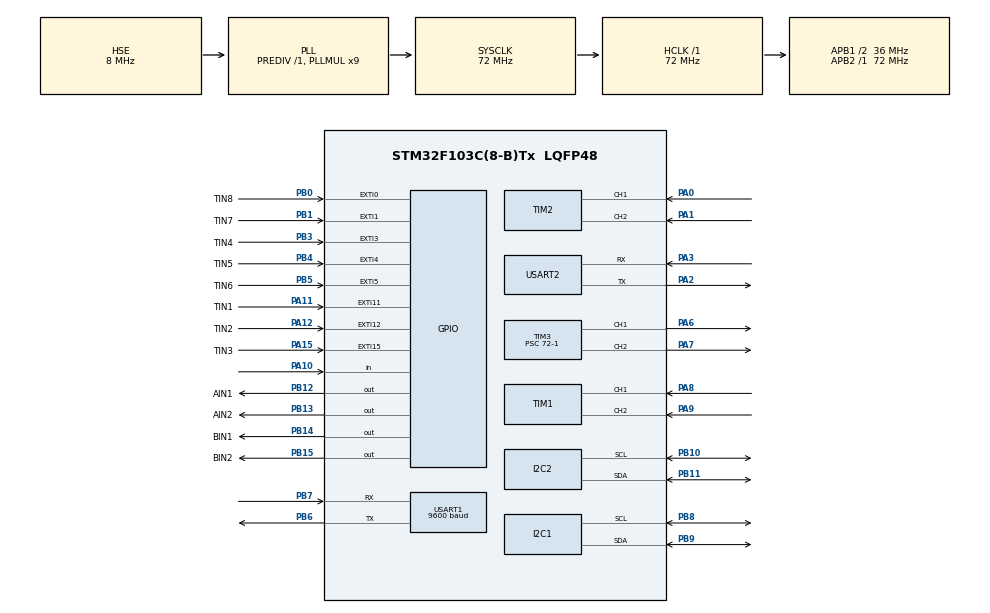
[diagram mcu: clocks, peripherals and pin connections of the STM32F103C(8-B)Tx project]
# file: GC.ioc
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I2C1.I2C_Mode=I2C_Fast
I2C2.I2C_Mode=I2C_Fast
Mcu.Family=STM32F1
Mcu.Name=STM32F103C(8-B)Tx
Mcu.Package=LQFP48
NVIC.I2C1_ER_IRQn=true\:0\:0\:false\:false\:true\:true\:true\:true
NVIC.I2C1_EV_IRQn=true\:0\:0\:false\:false\:true\:true\:true\:true
NVIC.I2C2_ER_IRQn=true\:0\:0\:false\:false\:true\:true\:true\:true
NVIC.I2C2_EV_IRQn=true\:0\:0\:false\:false\:true\:true\:true\:true
NVIC.PriorityGroup=NVIC_PRIORITYGROUP_4
NVIC.TIM4_IRQn=true\:0\:0\:false\:false\:true\:true\:true\:true
NVIC.USART1_IRQn=true\:0\:0\:false\:false\:true\:true\:true\:true
NVIC.USART2_IRQn=true\:0\:0\:false\:false\:true\:true\:true\:true
PA0-WKUP.Signal=S_TIM2_CH1_ETR
PA1.GPIO_PuPd=GPIO_PULLUP
PA1.Signal=S_TIM2_CH2
PA10.Signal=GPIO_Input
PA11.GPIO_Label=TIN1
PA11.GPIO_ModeDefaultEXTI=GPIO_MODE_IT_RISING
PA11.GPIO_PuPd=GPIO_PULLDOWN
PA11.Signal=GPXTI11
PA12.GPIO_Label=TIN2
PA12.GPIO_ModeDefaultEXTI=GPIO_MODE_IT_RISING
PA12.GPIO_PuPd=GPIO_PULLDOWN
PA12.Signal=GPXTI12
PA13.Mode=Serial_Wire
PA13.Signal=SYS_JTMS-SWDIO
PA14.Mode=Serial_Wire
PA14.Signal=SYS_JTCK-SWCLK
PA15.GPIO_Label=TIN3
PA15.GPIO_ModeDefaultEXTI=GPIO_MODE_IT_RISING
PA15.GPIO_PuPd=GPIO_PULLDOWN
PA15.Signal=GPXTI15
PA2.Mode=Asynchronous
PA2.Signal=USART2_TX
PA3.Mode=Asynchronous
PA3.Signal=USART2_RX
PA6.Signal=S_TIM3_CH1
PA7.Signal=S_TIM3_CH2
PA8.GPIO_PuPd=GPIO_PULLUP
PA8.Signal=S_TIM1_CH1
PA9.GPIO_PuPd=GPIO_PULLUP
PA9.Signal=S_TIM1_CH2
PB0.GPIO_Label=TIN8
PB0.GPIO_ModeDefaultEXTI=GPIO_MODE_IT_RISING
PB0.GPIO_PuPd=GPIO_PULLDOWN
PB0.Signal=GPXTI0
PB1.GPIO_Label=TIN7
PB1.GPIO_ModeDefaultEXTI=GPIO_MODE_IT_RISING
PB1.GPIO_PuPd=GPIO_PULLDOWN
PB1.Signal=GPXTI1
PB10.Mode=I2C
PB10.Signal=I2C2_SCL
PB11.Mode=I2C
PB11.Signal=I2C2_SDA
PB12.GPIO_Label=AIN1
PB12.GPIO_PuPd=GPIO_PULLDOWN
PB12.Signal=GPIO_Output
PB13.GPIO_Label=AIN2
PB13.GPIO_PuPd=GPIO_PULLDOWN
PB13.Signal=GPIO_Output
PB14.GPIO_Label=BIN1
PB14.GPIO_PuPd=GPIO_PULLDOWN
PB14.Signal=GPIO_Output
PB15.GPIO_Label=BIN2
PB15.GPIO_PuPd=GPIO_PULLDOWN
PB15.Signal=GPIO_Output
PB3.GPIO_Label=TIN4
PB3.GPIO_ModeDefaultEXTI=GPIO_MODE_IT_RISING
PB3.GPIO_PuPd=GPIO_PULLDOWN
PB3.Signal=GPXTI3
PB4.GPIO_Label=TIN5
PB4.GPIO_ModeDefaultEXTI=GPIO_MODE_IT_RISING
PB4.GPIO_PuPd=GPIO_PULLDOWN
PB4.Signal=GPXTI4
PB5.GPIO_Label=TIN6
PB5.GPIO_ModeDefaultEXTI=GPIO_MODE_IT_RISING
PB5.GPIO_PuPd=GPIO_PULLDOWN
PB5.Signal=GPXTI5
PB6.Mode=Asynchronous
PB6.Signal=USART1_TX
PB7.Mode=Asynchronous
PB7.Signal=USART1_RX
PB8.Mode=I2C
PB8.Signal=I2C1_SCL
PB9.Mode=I2C
PB9.Signal=I2C1_SDA
PD0-OSC_IN.Mode=HSE-External-Oscillator
PD0-OSC_IN.Signal=RCC_OSC_IN
PD1-OSC_OUT.Mode=HSE-External-Oscillator
PD1-OSC_OUT.Signal=RCC_OSC_OUT
ProjectManager.HeapSize=0x200
ProjectManager.StackSize=0x400
ProjectManager.TargetToolchain=MDK-ARM V5.32
RCC.AHBFreq_Value=72000000
RCC.APB1CLKDivider=RCC_HCLK_DIV2
RCC.APB1Freq_Value=36000000
RCC.APB1TimFreq_Value=72000000
RCC.APB2Freq_Value=72000000
RCC.APB2TimFreq_Value=72000000
RCC.HCLKFreq_Value=72000000
RCC.PLLMUL=RCC_PLL_MUL9
RCC.PLLSourceVirtual=RCC_PLLSOURCE_HSE
RCC.SYSCLKFreq_VALUE=72000000
RCC.SYSCLKSource=RCC_SYSCLKSOURCE_PLLCLK
RCC.USBFreq_Value=72000000
SH.S_TIM1_CH1.0=TIM1_CH1,Encoder_Interface
SH.S_TIM1_CH2.0=TIM1_CH2,Encoder_Interface
SH.S_TIM2_CH1_ETR.0=TIM2_CH1,Encoder_Interface
SH.S_TIM2_CH2.0=TIM2_CH2,Encoder_Interface
SH.S_TIM3_CH1.0=TIM3_CH1,PWM Generation1 CH1
SH.S_TIM3_CH2.0=TIM3_CH2,PWM Generation2 CH2
TIM1.EncoderMode=TIM_ENCODERMODE_TI12
TIM2.EncoderMode=TIM_ENCODERMODE_TI12
TIM3.Channel-PWM\ Generation1\ CH1=TIM_CHANNEL_1
TIM3.Channel-PWM\ Generation2\ CH2=TIM_CHANNEL_2
TIM3.Period=1000-1
TIM3.Prescaler=72-1
USART1.BaudRate=9600
USART1.VirtualMode=VM_ASYNC
USART2.VirtualMode=VM_ASYNC
VP_TIM4_VS_ClockSourceINT.Mode=Internal
board=custom

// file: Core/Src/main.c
/* USER CODE BEGIN Header */
/**
  ******************************************************************************
  * @file           : main.c
  * @brief          : Main program body
  ******************************************************************************
  * @attention
  *
  * Copyright (c) 2025 STMicroelectronics.
  * All rights reserved.
  *
  * This software is licensed under terms that can be found in the LICENSE file
  * in the root directory of this software component.
  * If no LICENSE file comes with this software, it is provided AS-IS.
  *
  ******************************************************************************
  */
/* USER CODE END Header */
#include "main.h"
#include "i2c.h"
#include "tim.h"
#include "usart.h"
#include "gpio.h"

/* USER CODE BEGIN Includes */
#include "VL53L0X.h"
#include "gc_pid.h"
#include "stdio.h"
#include "VL6180X.h"

/* USER CODE END Includes */

/* USER CODE BEGIN PTD */
typedef struct{
  uint16_t ecd; uint16_t last_ecd;
  float speed_real; float speed_tar;
  GPIO_TypeDef *IN1_port; uint16_t IN1_pin; //两个IN用来控制正反转
  GPIO_TypeDef *IN2_port; uint16_t IN2_pin;
  int32_t pwm_output;
  TIM_HandleTypeDef *PWM_htim; uint32_t PWM_Channel;
  TIM_HandleTypeDef *ecd_htim;
}motor_t;

typedef struct{
  int8_t mode;

  float speed_Kp;
  float speed_Ki;
  float speed_Kd;
  float speed_iMax;
  float speed_iMin;

  float angle_A_Kp;
  float angle_A_Ki;
  float angle_A_Kd;
  float angle_A_iMax;
  float angle_A_iMin;

  float angle_S_Kp;
  float angle_S_Ki;
  float angle_S_Kd;
  float angle_S_iMax;
  float angle_S_iMin;

  float track_Kp;
  float track_Ki;
  float track_Kd;

}PID_t;

typedef struct{
  float pitch;
  float roll;
  float yaw;

}IMU_t;

//PID模型结构�?
// extern P rtP; //输入
// extern ExtU rtU;  //参数
// extern ExtY rtY;  //输出

/* USER CODE END PTD */

/* USER CODE BEGIN PD */
#define MOTOR_CPR 40000
/* USER CODE END PD */

/* USER CODE BEGIN PV */
extern I2C_HandleTypeDef hi2c1;
extern I2C_HandleTypeDef hi2c2;
extern I2C_HandleTypeDef VL53L0X_I2C_Handler;
statInfo_t_VL53L0X statInfo;
statInfo_t_VL53L0X statInfo2;

vl6180x_t tof1;
vl6180x_t tof2;

char vlBuffer[64];

uint8_t uart1_tx_resetZaxis[3] = {0xFF,0xAA,0x52};
uint8_t uart1_tx_setWidth[3] = {0xFF,0xAA,0x81};
uint8_t uart1_index = 0;
uint8_t uart1_rx_buffer[64];
uint8_t imu_buffer[16];
uint8_t uart2_rx_buffer[8];

uint16_t tof_dis1 = 8192;
uint16_t tof_dis2 = 8192;
uint16_t tof_dis1_l = 8192;
uint16_t tof_dis2_l = 8192;
uint16_t tof_dis1_ll = 8192;
uint16_t tof_dis2_ll = 8192;

int my_carstate=0;

float ang_tar = 0.0f;
float ang_real = 0.0f;
float ang_ori = 0.0f;

IMU_t imu_data = {0.0f,0.0f,0.0f};

PID_t pid_param = {
  1,   //mode
  //0.017,0.005,0.0001,500,-500,  //speed 只在mode=1时生效
	0.02,0.04,0.001,500,-500,
  8.8,0.15,0.005,1000,-1000,  //angle_A 只在mode=2时生效
  0.08,0.02,0.001,1000,-1000,  //angle_S 只在mode=2时生效
  0.12,0.1,0.0001   //巡线用pid，一直生效
};
//0.037
//9.5
//0.12

motor_t motor_left = {
  0,0,
  0,0,
  AIN1_GPIO_Port, AIN1_Pin, //左A右B
  AIN2_GPIO_Port, AIN2_Pin,
  0,
  &htim3,TIM_CHANNEL_1,
  &htim1
};

motor_t motor_right = {
  0,0,
  0,0,
  BIN2_GPIO_Port, BIN2_Pin,
  BIN1_GPIO_Port, BIN1_Pin,
  0,
  &htim3,TIM_CHANNEL_2,
  &htim2
};

float track_state[8];
float line_track = 0;

int tim4_cnt = 0;

int8_t CAR_STATE = 1;

uint16_t case1_cnt = 0;
uint16_t case2_cnt = 0;
uint16_t case3_cnt = 0;
uint16_t case4_cnt = 0;
uint16_t case5_cnt = 0;
uint16_t case6_cnt = 0;
uint16_t case7_cnt = 0;

uint16_t tof_cnt = 0;

//for debug, our var is declined. so we set a var to increase the speed to be happy.
uint16_t rate = 4;

float tmp_tar = 0.0f;
int uart_cnt = 0;

int16_t stop_cnt = 0;
uint16_t stop_code = 0;
uint16_t high_speed_cnt = 0;
uint16_t cnt_max = 0;
uint16_t high_speed_code = 0;

uint16_t test_cnt = 0;

uint16_t imu_cnt = 0;
/* USER CODE END PV */

void SystemClock_Config(void);
/* USER CODE BEGIN PFP */
void motor_updEcd(motor_t *motor){
  motor->last_ecd = motor->ecd;
  motor->ecd = __HAL_TIM_GET_COUNTER(motor->ecd_htim);
  int32_t delta = motor->ecd - motor->last_ecd;
  if(delta > (int32_t)(MOTOR_CPR*0.7)){
    delta -= 65535;
  }else if(delta < (int32_t)(-MOTOR_CPR*0.7 )){
    delta += 65535;
  }
  motor->speed_real = (float)delta * 360 / MOTOR_CPR * 100;
}

void PID_updParam(PID_t *pid){

  rtP.angle_A_Kp = pid->angle_A_Kp;
  rtP.angle_A_Ki = pid->angle_A_Ki;
  rtP.angle_A_Kd = pid->angle_A_Kd;
  rtP.angle_A_iMax = pid->angle_A_iMax;
  rtP.angle_A_iMin = pid->angle_A_iMin;

  rtP.angle_S_Kp = pid->angle_S_Kp;
  rtP.angle_S_Ki = pid->angle_S_Ki;
  rtP.angle_S_Kd = pid->angle_S_Kd;
  rtP.angle_S_iMax = pid->angle_S_iMax;
  rtP.angle_S_iMin = pid->angle_S_iMin;

  rtP.speed_Kp = pid->speed_Kp;
  rtP.speed_Ki = pid->speed_Ki;
  rtP.speed_Kd = pid->speed_Kd;
  rtP.speed_iMax = pid->speed_iMax;
  rtP.speed_iMin = pid->speed_iMin;

  rtP.track_Kp = pid->track_Kp;
  rtP.track_Ki = pid->track_Ki;
  rtP.track_Kd = pid->track_Kd;
}

void PID_updInput(){
  rtU.ctrl_mode = pid_param.mode;
  rtU.angle_tar = ang_tar;
	if (CAR_STATE == 8 || CAR_STATE == 9)	rtU.angle_real = imu_data.yaw;
	else rtU.angle_real = 0;
  rtU.leftRpm_real = motor_left.speed_real;
  rtU.rightRpm_real = motor_right.speed_real;
  rtU.leftRpm_tar = motor_left.speed_tar;
  rtU.rightRpm_tar = motor_right.speed_tar;
  rtU.track_in = line_track;
  rtU.track_tar = 0.0f;
}

bool CRC_check(uint8_t *buffer){
  uint8_t sum = 0;
  for(int i=0; i<=9; i++){
      sum += buffer[i];
  }
  return sum == buffer[10];
}

void IMU_getAng(uint8_t* buffer){
	if(buffer[1] == 0x53){
		uint16_t roll = (buffer[3] << 8) | buffer[2];
		uint16_t pitch = (buffer[5] << 8) | buffer[4];
		uint16_t yaw = (buffer[7] << 8) | buffer[6];
		imu_data.roll = (float)roll / 32768.0f * 180.0f;
		imu_data.pitch = (float)pitch / 32768.0f * 180.0f;
		imu_data.yaw = (float)yaw / 32768.0f * 180.0f;
  }
}

void tof_init(){
  initVL53L0X(1, &hi2c1);
  setSignalRateLimit(250);
  setVcselPulsePeriod(VcselPeriodPreRange, 18);
	setVcselPulsePeriod(VcselPeriodFinalRange, 18);
	setMeasurementTimingBudget(190 * 1000UL);
  startContinuous(0);
  HAL_Delay(20);
  initVL53L0X(1,&hi2c2);
  setSignalRateLimit(250);
  setVcselPulsePeriod(VcselPeriodPreRange, 18);
  setVcselPulsePeriod(VcselPeriodFinalRange, 18);
  setMeasurementTimingBudget(190 * 1000UL);
  startContinuous(0);
}

void tof_getDis(){
  VL53L0X_I2C_Handler = hi2c1;
  tof_dis1_ll = tof_dis1_l;
  tof_dis1_l = tof_dis1;
  tof_dis1 = readRangeContinuousMillimeters(&statInfo);
//  HAL_Delay(5);
  VL53L0X_I2C_Handler = hi2c2;
  tof_dis2_ll = tof_dis2_l;
  tof_dis2_l = tof_dis2;
  tof_dis2 = readRangeContinuousMillimeters(&statInfo2);
}

// void tof_init(){
//   vl6180x_init(&tof1 ,&hi2c1);
//   vl6180x_configure_default(&tof1);
// //  vl6180x_write_reg(&tof1, SYSRANGE__MAX_CONVERGENCE_TIME, 30);
// //  vl6180x_write_reg_16bit(&tof1, SYSALS__INTEGRATION_PERIOD, 50);
//   vl6180x_set_timeout(&tof1,500);
// //  vl6180x_stop_continuous(&tof1);
// //  HAL_Delay(300);
//   // vl6180x_start_range_continuous(&tof1, 500);

//   vl6180x_init(&tof2 ,&hi2c2);
//   vl6180x_configure_default(&tof2);
// //  vl6180x_write_reg(&tof2, SYSRANGE__MAX_CONVERGENCE_TIME, 30);
// //  vl6180x_write_reg_16bit(&tof2, SYSALS__INTEGRATION_PERIOD, 50);
//   vl6180x_set_timeout(&tof2,500);
// //  vl6180x_stop_continuous(&tof2);
// //  HAL_Delay(300);
//   // vl6180x_start_range_continuous(&tof2, 500);
// }

//void tof_getDis(){
//  tof_dis1 = vl6180x_read_range_continuous_millimeters(&tof1);
//  // tof_dis1 = vl6180x_read_range_single_millimeters(&tof1);
//	HAL_Delay(20);
//  tof_dis2 = vl6180x_read_range_continuous_millimeters(&tof2);
//  // tof_dis2 = vl6180x_read_range_single_millimeters(&tof2);
//}

void setMotor_CW(motor_t *motor){
  HAL_GPIO_WritePin(motor->IN1_port, motor->IN1_pin, GPIO_PIN_RESET);
  HAL_GPIO_WritePin(motor->IN2_port, motor->IN2_pin, GPIO_PIN_SET);
}

void setMotor_CCW(motor_t *motor){
  HAL_GPIO_WritePin(motor->IN1_port, motor->IN1_pin, GPIO_PIN_SET);
  HAL_GPIO_WritePin(motor->IN2_port, motor->IN2_pin, GPIO_PIN_RESET);
}

void drive_motor(motor_t *motor, int32_t speed){
  if(speed < -1000){  //pid输出钳位
    speed = -1000;
  }else if(speed > 1000){
    speed = 1000;
  }
  if(speed < 0){
    setMotor_CCW(motor);
    __HAL_TIM_SET_COMPARE(motor->PWM_htim, motor->PWM_Channel, -(uint32_t)speed);
  }else{
    setMotor_CW(motor);
    __HAL_TIM_SET_COMPARE(motor->PWM_htim, motor->PWM_Channel, (uint32_t)speed);
  }
}

float ffabs(float a){
  return a > 0 ? a : -a;
}

void motor_updPID(){
//  if(ffabs(motor_left.speed_tar - motor_left.speed_real) > 5.0f){
    motor_left.pwm_output += (int32_t)rtY.leftRpm_output;
    motor_right.pwm_output += (int32_t)rtY.rightRpm_output;
//  }
  drive_motor(&motor_left, motor_left.pwm_output);
  drive_motor(&motor_right, motor_right.pwm_output);
}

void lineTrack_update(){   //从上到下为编�?8�?1
  if(HAL_GPIO_ReadPin(GPIOA, GPIO_PIN_11) == 0){        //PA11
    if(track_state[7]<20)track_state[7]+=2.4;
  }else{
    if(track_state[7]>0)track_state[7]=0;
  }
    // track_state[7] = 20;
  if(HAL_GPIO_ReadPin(GPIOA, GPIO_PIN_10) == 0){  //PA12
    if(track_state[6]<20)track_state[6]+=2.1;
  }else{
    if(track_state[6]>0)track_state[6]=0;
  }
	// track_state[6] = 20;
  if(HAL_GPIO_ReadPin(GPIOA, GPIO_PIN_15) == 0){  //PA15
    if(track_state[5]<20)track_state[5]+=2;
  }else{
    if(track_state[5]>0)track_state[5]=0;
  }
  if(HAL_GPIO_ReadPin(GPIOB, GPIO_PIN_3) == 0){   //PB3
    if(track_state[4]<20)track_state[4]+=2;
  }else{
    if(track_state[4]>0)track_state[4]=0;
  }

  if(HAL_GPIO_ReadPin(GPIOB, GPIO_PIN_4) == 0){   //PB4
    if(track_state[3]<20)track_state[3]+=2;
  }else{
    if(track_state[3]>0)track_state[3]=0;
  }

  if(HAL_GPIO_ReadPin(GPIOB, GPIO_PIN_5) == 0){   //PB5
    if(track_state[2]<20)track_state[2]+=2;
  }else{
    if(track_state[2]>0)track_state[2]=0;
  }

  if(HAL_GPIO_ReadPin(GPIOB, GPIO_PIN_1) == 0){   //PB1
    if(track_state[1]<20)track_state[1]+=2.1;
  }else{
    if(track_state[1]>0)track_state[1]=0;
  }

  if(HAL_GPIO_ReadPin(GPIOB, GPIO_PIN_0) == 0){   //PB0
    if(track_state[0]<20)track_state[0]+=2.4;
  }else{
    if(track_state[0]>0)track_state[0]=0;
  }

  if(track_state[0] && track_state[1] && track_state[2] && track_state[3] && track_state[4] && track_state[5] && track_state[6] && track_state[7] && case1_cnt>5000)
  {

	  stop_cnt++;
		if (stop_cnt > cnt_max){
			cnt_max = stop_cnt;
		}
  }else{
    if(stop_cnt>0)stop_cnt -= 1;
  }

  if(stop_cnt >= 28 && CAR_STATE == 1){
    stop_cnt = 0;
    stop_code ++;
  }

  if(!track_state[0] && !track_state[1] && !track_state[2] && !track_state[3] && !track_state[4] && !track_state[5] && !track_state[6] && !track_state[7]){
  //    if(stop_flag == 0){
  //      stop_flag = 1;
  //    }
		high_speed_cnt++;
	}else{
    if(high_speed_cnt>0) high_speed_cnt -= 1;
  }

	if(high_speed_cnt >= 45 && CAR_STATE == 1 && high_speed_code == 1){
    high_speed_cnt = 0;
    high_speed_code ++;
  }

//  if(stop_flag){
//    stop_cnt ++;
//    if(stop_cnt == 200){
//      stop_flag = 0;
//      stop_cnt = 0;
//      if(track_state[0] && track_state[1] && track_state[2] && track_state[3] && track_state[4] && track_state[5] && track_state[6] && track_state[7]){
//        stop_code++;
//      }
//    }
//  }

  line_track = track_state[0]*-130 + track_state[1]*-65 + track_state[2]*-40 +
								track_state[3]*-10 + track_state[4]*10 + track_state[5]*40+
								track_state[6]*65 + track_state[7]*130;

  if(line_track < -600000)line_track = -600000;
  if(line_track > 600000)line_track = 600000;
}

/* USER CODE END PFP */

int main(void)
{

  /* MCU Configuration--------------------------------------------------------*/

  /* Reset of all peripherals, Initializes the Flash interface and the Systick. */
  HAL_Init();

  /* Configure the system clock */
  SystemClock_Config();

  /* Initialize all configured peripherals */
  MX_GPIO_Init();
  MX_I2C1_Init();
  MX_I2C2_Init();
  MX_TIM1_Init();
  MX_TIM2_Init();
  MX_TIM3_Init();
  MX_TIM4_Init();
  MX_USART1_UART_Init();
  MX_USART2_UART_Init();
  /* USER CODE BEGIN 2 */

	HAL_Delay(1400);

	tof_init();
  gc_pid_initialize();
  //htim3用于pwm输出，pwm范围�?1-1000
  __HAL_TIM_SetCompare(&htim3, TIM_CHANNEL_1, 0);
  __HAL_TIM_SetCompare(&htim3, TIM_CHANNEL_2, 0);
  HAL_TIM_PWM_Start(&htim3, TIM_CHANNEL_1);
  HAL_TIM_PWM_Start(&htim3, TIM_CHANNEL_2);

  //htim4用于定时�?
  HAL_TIM_Base_Start_IT(&htim4);
  HAL_TIM_Encoder_Start(&htim1, TIM_CHANNEL_ALL);
  HAL_TIM_Encoder_Start(&htim2, TIM_CHANNEL_ALL);

  HAL_UART_Transmit_IT(&huart1, uart1_tx_resetZaxis, 3);  //IMU初始�?
  HAL_UART_Transmit_IT(&huart1, uart1_tx_setWidth, 3);
  HAL_Delay(15);
	HAL_UART_Receive_IT(&huart1, uart1_rx_buffer, 1);

	HAL_UART_Receive_IT(&huart2, uart2_rx_buffer, 3);
  /* USER CODE END 2 */

  /* Infinite loop */
  while (1)
  {

    /* USER CODE BEGIN 3 */
//		ang_tar = 0;
//		 HAL_Delay(5000);
//     ang_tar = 90;
//		 HAL_Delay(5000);
//		 ang_tar = 0;
//		 HAL_Delay(5000);
//		 ang_tar = 270;
//		 HAL_Delay(5000);
//		 ang_tar = 0;

//		HAL_UART_Receive(&huart1, uart1_rx_buffer, 11, 100);
//		if(uart1_rx_buffer[0] == 0x55 && uart1_rx_buffer[1] == 0x53){
//      IMU_getAng();
//    }
     //int size = sprintf((char*)uart2_tx_buffer, "%f,%f \n", imu_data.yaw, ang_tar);
    //int size = sprintf((char*)uart2_tx_buffer, "%f,%d\n", motor_right.speed_real, motor_right.pwm_output);
    //HAL_UART_Transmit_IT(&huart2, uart2_tx_buffer, size);

    tof_getDis();

    switch(CAR_STATE){
    case 0:
        motor_right.speed_tar = 600;
        motor_left.speed_tar = -600;
        HAL_Delay(750);
        pid_param.mode = 2;
        ang_tar = 0.0f;
        motor_right.speed_tar = 0;
        motor_left.speed_tar = 0;
        break;
    case 1:        //直行

        if((tof_dis2+tof_dis2_l+tof_dis2_ll)/3 <= 200){
            motor_right.speed_tar = 135;
            motor_left.speed_tar = -135;
            PID_updInput();
//            HAL_Delay(300);
//            motor_right.speed_tar = 0;
//            motor_left.speed_tar = 0;
//            HAL_Delay(300);
            //CAR_STATE = 2;
            CAR_STATE = 2;
            break;
        }

        if((tof_dis1+tof_dis1_l+tof_dis1_ll)/3 <= 200){  //970 210

            motor_right.speed_tar = 135;
            motor_left.speed_tar = -135;
            PID_updInput();
//            HAL_Delay(300);
//            motor_right.speed_tar = 0;
//            motor_left.speed_tar = 0;
//            HAL_Delay(300);
            //CAR_STATE = 5;
              CAR_STATE = 5;
            break;
        }
//				if(test_cnt%1000 == 150){
//					//
//            motor_right.speed_tar = 135;
//            motor_left.speed_tar = -135;
//            PID_updInput();
////            HAL_Delay(300);
////            motor_right.speed_tar = 0;
////            motor_left.speed_tar = 0;
////            HAL_Delay(300);
//            //CAR_STATE = 5;
//              CAR_STATE = 2;
//				}
//				if(test_cnt%1000 == 650){
//	          motor_right.speed_tar = 135;
//            motor_left.speed_tar = -135;
//            PID_updInput();
////            HAL_Delay(300);
////            motor_right.speed_tar = 0;
////            motor_left.speed_tar = 0;
////            HAL_Delay(300);
//            //CAR_STATE = 2;
//            CAR_STATE = 5;
//				}
//				test_cnt ++;
        break;
    case 2:
        if(case2_cnt > 300){

          pid_param.mode = 2;
          //tmp_tar = ang_ori+25.0f;
					tmp_tar = 50.0f;
          if(tmp_tar > 360)tmp_tar-=360;
          ang_tar = tmp_tar;

          case2_cnt = 0;
          HAL_Delay(50);
          pid_param.mode = 1;
            case2_cnt = 0;
            motor_right.speed_tar = 133*rate;
            motor_left.speed_tar = -370*rate;
            CAR_STATE = 3;
        }
				for(int i = 0; i < 8; i++){
            uart2_rx_buffer[i] = 0;
        }
        //if(case2_cnt > 450){

        //}
        break;
    case 3:        //绕障（右侧）
        if(case3_cnt > 500 && HAL_GPIO_ReadPin(GPIOB, GPIO_PIN_0) == 0){
            CAR_STATE = 4;
            case3_cnt = 0;
        }
				for(int i = 0; i < 8; i++){
            uart2_rx_buffer[i] = 0;
        }
        break;
    case 4:        //回转（右侧）
        HAL_Delay(145);
        pid_param.mode = 2;
        //ang_tar = ang_ori;
				ang_tar = 40.0f;
        if(case4_cnt > 320){
            case4_cnt = 0;
            CAR_STATE = 1;
						HAL_Delay(100);
        }
				for(int i = 0; i < 8; i++){
            uart2_rx_buffer[i] = 0;
        }
        break;
    case 5:        //左侧转向
        if(case5_cnt > 300){
          pid_param.mode = 2;
          //tmp_tar = ang_ori-25.0f;
					tmp_tar = -90.0f;
          if(tmp_tar < 0)tmp_tar+=360;
          ang_tar = tmp_tar;
          case5_cnt = 0;
          HAL_Delay(150);
          pid_param.mode = 1;
          case5_cnt = 0;
          motor_right.speed_tar = 200*rate;
          motor_left.speed_tar = -133*rate;
          CAR_STATE = 6;
        }
				for(int i = 0; i < 8; i++){
            uart2_rx_buffer[i] = 0;
        }
        //if(case5_cnt > 450){

        //}
        break;
    case 6:        //绕障（左侧）
        if(case6_cnt > 400 && HAL_GPIO_ReadPin(GPIOA, GPIO_PIN_10) == 0){
            CAR_STATE = 7;
            case6_cnt = 0;
        }
				for(int i = 0; i < 8; i++){
            uart2_rx_buffer[i] = 0;
        }
        break;
    case 7:        //回转（左侧）
        HAL_Delay(145);
        pid_param.mode = 2;
        //ang_tar = ang_ori;
				ang_tar = -90.0f;
        if(case7_cnt > 165){
            case7_cnt = 0;
            CAR_STATE = 1;
						HAL_Delay(100);
        }
				for(int i = 0; i < 8; i++){
            uart2_rx_buffer[i] = 0;
        }
        break;
    case 8:
				ang_real = imu_data.yaw;
        pid_param.mode = 1;
        motor_right.speed_tar = 900;
        motor_left.speed_tar = -1100;
        HAL_Delay(200);
        motor_right.speed_tar = 0;
        motor_left.speed_tar = 0;
        HAL_Delay(200);
        pid_param.mode = 2;
        //tmp_tar = ang_ori-90.0f;
        //if(tmp_tar < 0)tmp_tar+=360;
        ang_tar = 75.0f;
        HAL_Delay(600);
        //CAR_STATE = 9;
        pid_param.mode = 1;
        motor_right.speed_tar = 900;
		    //motor_left.speed_tar = -900;
        motor_left.speed_tar = -1100;
        HAL_Delay(700);
        CAR_STATE = 1;
				high_speed_code += 1;
        break;
    case 9:
				ang_real = imu_data.yaw;
        motor_right.speed_tar = 600;
        motor_left.speed_tar = -700;
        HAL_Delay(1000);
        motor_right.speed_tar = 0;
        motor_left.speed_tar = 0;
        HAL_Delay(200);
        pid_param.mode = 2;
        ang_tar = -10.0f;
        HAL_Delay(800);
        pid_param.mode = 1;
        CAR_STATE = 1;
        break;
    default:
        pid_param.mode = 1;
        motor_right.speed_tar = 0;
        motor_left.speed_tar = 0;
        break;
    }

    //HAL_Delay(7);
  }
  /* USER CODE END 3 */
}

void SystemClock_Config(void)
{
  RCC_OscInitTypeDef RCC_OscInitStruct = {0};
  RCC_ClkInitTypeDef RCC_ClkInitStruct = {0};

  /** Initializes the RCC Oscillators according to the specified parameters
  * in the RCC_OscInitTypeDef structure.
  */
  RCC_OscInitStruct.OscillatorType = RCC_OSCILLATORTYPE_HSE;
  RCC_OscInitStruct.HSEState = RCC_HSE_ON;
  RCC_OscInitStruct.HSEPredivValue = RCC_HSE_PREDIV_DIV1;
  RCC_OscInitStruct.HSIState = RCC_HSI_ON;
  RCC_OscInitStruct.PLL.PLLState = RCC_PLL_ON;
  RCC_OscInitStruct.PLL.PLLSource = RCC_PLLSOURCE_HSE;
  RCC_OscInitStruct.PLL.PLLMUL = RCC_PLL_MUL9;
  if (HAL_RCC_OscConfig(&RCC_OscInitStruct) != HAL_OK)
  {
    Error_Handler();
  }

  /** Initializes the CPU, AHB and APB buses clocks
  */
  RCC_ClkInitStruct.ClockType = RCC_CLOCKTYPE_HCLK|RCC_CLOCKTYPE_SYSCLK
                              |RCC_CLOCKTYPE_PCLK1|RCC_CLOCKTYPE_PCLK2;
  RCC_ClkInitStruct.SYSCLKSource = RCC_SYSCLKSOURCE_PLLCLK;
  RCC_ClkInitStruct.AHBCLKDivider = RCC_SYSCLK_DIV1;
  RCC_ClkInitStruct.APB1CLKDivider = RCC_HCLK_DIV2;
  RCC_ClkInitStruct.APB2CLKDivider = RCC_HCLK_DIV1;

  if (HAL_RCC_ClockConfig(&RCC_ClkInitStruct, FLASH_LATENCY_2) != HAL_OK)
  {
    Error_Handler();
  }
}

/* USER CODE BEGIN 4 */
void HAL_UART_RxCpltCallback(UART_HandleTypeDef *huart){
  if(huart->Instance == USART1){
    uart_cnt++;
    if(uart1_index == 0){
      if(uart1_rx_buffer[0] == 0x55){
        imu_buffer[uart1_index++] = uart1_rx_buffer[0];
      }else{
        uart1_index = 0;
      }
    }else if(uart1_index == 1){
      if(uart1_rx_buffer[0] == 0x53){
        imu_buffer[uart1_index++] = uart1_rx_buffer[0];
      }else{
        uart1_index = 0;
      }
    }else if(uart1_index == 10){
      imu_buffer[uart1_index] = uart1_rx_buffer[0];
      if(CRC_check(imu_buffer)){
        IMU_getAng(imu_buffer);
      }
      uart1_index = 0;
    }else{
      imu_buffer[uart1_index++] = uart1_rx_buffer[0];
    }
    HAL_UART_Receive_IT(&huart1, uart1_rx_buffer, 1);
  }
  if(huart->Instance == USART2){
    //if(uart2_rx_buffer[0] == 0xAA && uart2_rx_buffer[1] == 0x01 && uart2_rx_buffer[2] == 0x55){
    //&& imu_data.yaw<200 && imu_data.yaw > 160
      if(imu_cnt == 3 && CAR_STATE == 1 && imu_data.yaw<200 && imu_data.yaw > 160 ){
        CAR_STATE = 8;
      }
    //}
    HAL_UART_Receive_IT(&huart2, uart2_rx_buffer, 3);
  }
}
void HAL_TIM_PeriodElapsedCallback(TIM_HandleTypeDef *htim){
  if(htim->Instance == TIM4){
    if(stop_code == 1 ){
      if(imu_data.yaw < 20 ||  imu_data.yaw > 340){
        CAR_STATE = 0;
        stop_code = 0;
      }else{
        stop_code = 0;
      }
    }
		if(high_speed_code == 2){
			high_speed_code = 0;
			CAR_STATE = 9;
		}
		switch(CAR_STATE){
			case 0:
				case2_cnt = 0;
				break;
      case 1:
				case1_cnt++;
        if(imu_data.yaw > 80 && imu_data.yaw < 100){
          imu_cnt = 2;
					for(int i = 0; i < 8; i++){
            uart2_rx_buffer[i] = 0;
          }
        }
        if(imu_cnt == 2 && imu_data.yaw > 160 && imu_data.yaw < 200){
          imu_cnt = 3;
          // 第一次imu_cnt=3时清空uart2_rx_buffer，避免OpenMV误检测数据
          for(int i = 0; i < 8; i++){
            uart2_rx_buffer[i] = 0;
          }
        }
        pid_param.mode = 1;
				ang_real = 0;
				ang_ori = ang_real;
        lineTrack_update();

          motor_right.speed_tar = 900+rtY.track_output*1.3;
          motor_left.speed_tar = -1000+rtY.track_output*1.3;

        break;
			case 2:
				case2_cnt ++;
				break;
      case 3:
        case3_cnt ++;
        break;
			case 4:
				case4_cnt ++;
				break;
      case 5:
        case5_cnt ++;
        break;
      case 6:
        case6_cnt ++;
        break;
      case 7:
        case7_cnt ++;
        break;
			case 8:
				ang_real = imu_data.yaw;
				break;
			case 9:
				ang_real = imu_data.yaw;
				break;
			default:
				break;
		}

    tim4_cnt ++;
    if(tof_cnt < 500){tof_cnt++;}
    if(tim4_cnt == 10){

      tim4_cnt = 0;
      motor_updEcd(&motor_left);
      motor_updEcd(&motor_right);
      PID_updParam(&pid_param);
      PID_updInput();
      gc_pid_step();
      motor_updPID();
      //drive_motor(&motor_left, 100);
      // setMotor_CCW(&motor_left);
      // __HAL_TIM_SET_COMPARE(motor_left.PWM_htim, motor_left.PWM_Channel, 100);
    }
  }
}

/* USER CODE END 4 */

void Error_Handler(void)
{
  __disable_irq();
  while (1)
  {
  }
}
